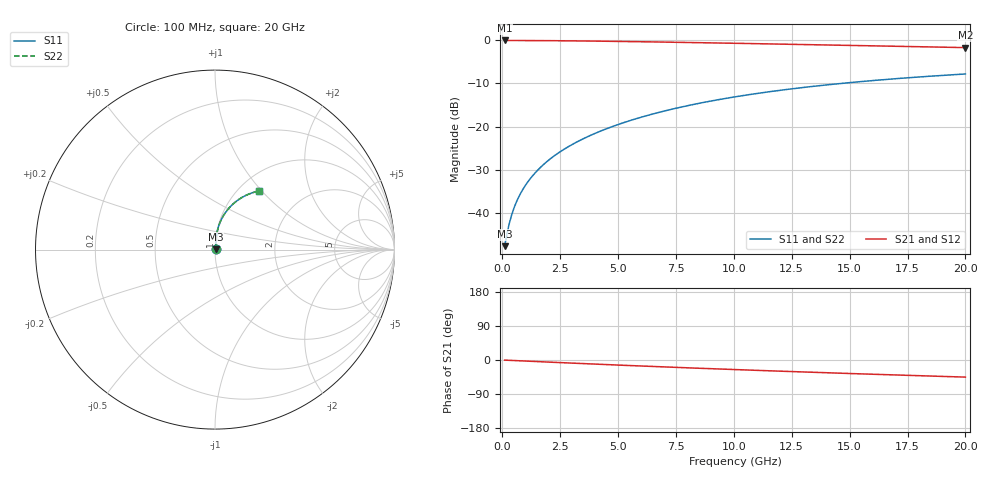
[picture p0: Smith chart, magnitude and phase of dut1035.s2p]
! Touchstone file exported from HFSS 2024.1.0
!  File:  C:/UserFiles/LocalFiles/RDL_TSV_Batchsim/temp_RDL_bottom_1035_1780051323.aedt
!  Generated:  06:44:38 PM May 29, 2026
!  Design:  RDL_bottom
!  Project:  temp_RDL_bottom_1035_1780051323
!  Setup:  Setup1
!  Solution:  Sweep
! Variables:
!  dtsv = 10.80580581um
!  hbump = 3um
!  htsv = 92.15um
!  ldown = 605.92um
!  lrdl = 100um
!  p = 40
!  p1 = 58.58um
!  rhole = 1um
!  t = 450um
!  tdown = 2.76um
!  trdl = 3.915915916um
!  wdown = 24.52um
!  wrdl = 20um
# GHz S MA R 50.000000
! Terminal data exported
! Port[1] = RDL1_T1
! Port[2] = RDL1_T2
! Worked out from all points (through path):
!   200 points, 100 MHz to 20 GHz, reference 50 ohm
!   highest |S21| = -0.03 dB at 100 MHz (marker M1); lowest = -1.7 dB at 20 GHz (marker M2)
!   group delay of S21, straight-line fit = 6.22 ps
!   lowest |S11| = -47.8 dB at 100 MHz (marker M3), VSWR 1.01, Z = 50.3 + j0.223 ohm
!   |S11| at or under -10 dB: start of sweep to 14.64 GHz
!   |S22| runs from -47.8 to -7.8 dB; largest |S21 - S12| = 3.4e-15
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0.1  0.004089 32.8  0.9966 -0.3  0.9966 -0.3  0.004089 32.8
! Gamma 0 0 0 0
! Port Impedance 50 0 50 0
0.2  0.005649 50.8  0.9964 -0.6  0.9964 -0.6  0.005649 50.8
0.3  0.007468 60.0  0.9962 -0.9  0.9962 -0.9  0.007468 60.0
0.4  0.009347 65.3  0.9959 -1.1  0.9959 -1.1  0.009346 65.3
0.5  0.01124 68.9  0.9957 -1.4  0.9957 -1.4  0.01124 68.9
0.6  0.01313 71.5  0.9955 -1.7  0.9955 -1.7  0.01313 71.5
0.8  0.01694 75.1  0.995 -2.2  0.995 -2.2  0.01694 75.1
1.1  0.02274 78.4  0.9943 -3.1  0.9943 -3.1  0.02274 78.4
1.3  0.02665 79.8  0.9937 -3.6  0.9937 -3.6  0.02665 79.8
1.6  0.03261 81.3  0.9927 -4.4  0.9927 -4.4  0.03261 81.3
2.1  0.04272 82.8  0.9908 -5.8  0.9908 -5.8  0.04272 82.8
2.7  0.05514 83.6  0.9878 -7.4  0.9878 -7.4  0.05514 83.6
3.5  0.07219 83.8  0.983 -9.5  0.983 -9.5  0.07218 83.8
4.2  0.08752 83.5  0.9781 -11.3  0.9781 -11.3  0.08751 83.5
5  0.1054 82.8  0.9718 -13.4  0.9718 -13.4  0.1054 82.8
6.8  0.1467 80.1  0.9559 -17.8  0.9559 -17.8  0.1467 80.1
8.4  0.1836 77.1  0.9406 -21.6  0.9406 -21.6  0.1836 77.0
10.1  0.222 73.5  0.9236 -25.4  0.9236 -25.4  0.222 73.5
11.7  0.2568 70.1  0.9073 -28.9  0.9073 -28.9  0.2568 70.1
13.4  0.2919 66.5  0.8898 -32.4  0.8898 -32.4  0.2918 66.5
16.7  0.3538 59.6  0.8561 -39.0  0.8561 -39.0  0.3536 59.6
20  0.4069 53.3  0.8232 -45.1  0.8232 -45.1  0.4067 53.3
